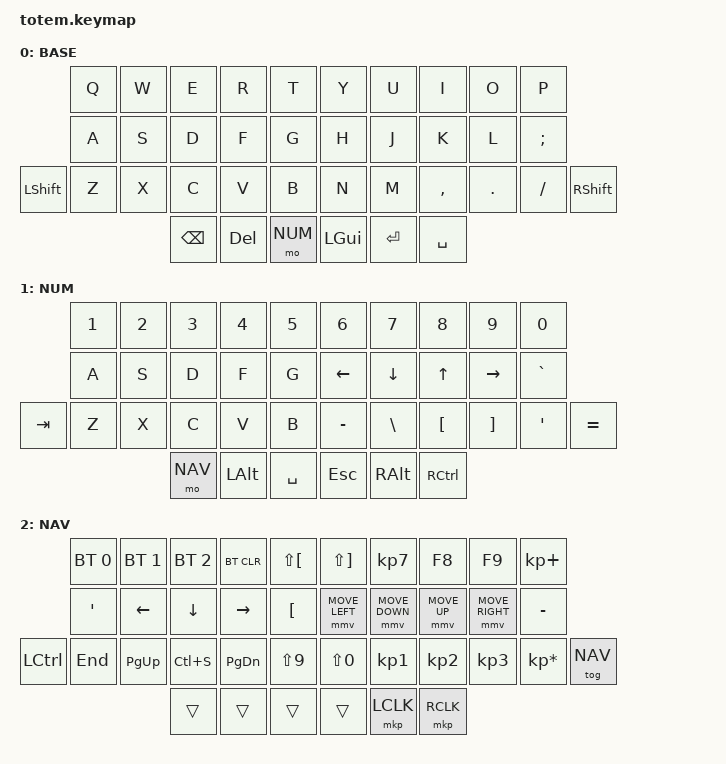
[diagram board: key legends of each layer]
//
//                                                        ▀▀▀▀▀     ▀▀▀▀▀          ▀▀█▀▀
//                                                        ▄▀▀▀▄  ▄  ▄▀▀▀▄  ▄  ▄▀▀▀▄  █  ▄▀▀▀▄
//                                                        █   █  █  █   █  █  █   █  █  █   █
//                                                         ▀▀▀   █   ▀▀▀   █   ▀▀▀   ▀   ▀▀▀
//                                                               █      ▄▄▄█▄▄▄    █   █
//                                                               ▀      █  █  █     █▄█
//                                                             ▀▀▀▀▀    █  █  █      ▀
//                                                                      ▀  ▀  ▀

#include <behaviors.dtsi>
#include <dt-bindings/zmk/keys.h>
#include <dt-bindings/zmk/bt.h>
#include <dt-bindings/zmk/outputs.h>
#include <dt-bindings/zmk/mouse.h>

#define BASE 0
#define NUM  1
#define NAV  2

#define ZMK_POINTING_DEFAULT_MOVE_VAL 1200

/ {
    keymap {
        compatible = "zmk,keymap";

        base_layer {
            label = "BASE";
            bindings = <
//             Q         W         E         R         T             Y         U         I         O         P
               &kp Q     &kp W     &kp E     &kp R     &kp T           &kp Y     &kp U     &kp I     &kp O     &kp P
//             A         S         D         F         G             H         J         K         L         SEMI
               &kp A     &kp S     &kp D     &kp F     &kp G           &kp H     &kp J     &kp K     &kp L     &kp SEMI
//             Z         X         C         V         B             N         M         COMMA     DOT       SLASH
    &kp LSHFT  &kp Z     &kp X     &kp C     &kp V     &kp B           &kp N     &kp M     &kp COMMA &kp DOT   &kp FSLH  &kp RSHFT
//                                 BSPC      DEL       MO(1)         LGUI      ENTER     SPACE
                                   &kp BSPC  &kp DEL   &mo NUM         &kp LGUI  &kp RET   &kp SPACE
            >;
        };

        num_layer {
            label = "NUM";
            bindings = <
//             1         2         3         4         5             6         7         8         9         0
               &kp N1    &kp N2    &kp N3    &kp N4    &kp N5          &kp N6    &kp N7    &kp N8    &kp N9    &kp N0
//             A         S         D         F         G             LEFT      DOWN      UP        RIGHT     GRAVE
               &kp A     &kp S     &kp D     &kp F     &kp G           &kp LEFT  &kp DOWN  &kp UP    &kp RIGHT &kp GRAVE
//             Z         X         C         V         B             MINUS     BSLH      LBKT      RBKT      SQT
    &kp TAB    &kp Z     &kp X     &kp C     &kp V     &kp B           &kp MINUS &kp BSLH  &kp LBKT  &kp RBKT  &kp SQT   &kp EQUAL
//                                 MO(2)     LALT      SPACE         ESC       RALT      RCTRL
                                   &mo NAV   &kp LALT  &kp SPACE       &kp ESC   &kp RALT  &kp RCTRL
            >;
        };

        nav_layer {
            label = "NAV";
            bindings = <
//             BT_0      BT_1      BT_2      BT_CLR    LBRC          RBRC      KP_7      F8        F9        KP_PLUS
               &bt BT_SEL 0 &bt BT_SEL 1 &bt BT_SEL 2 &bt BT_CLR &kp LS(LBKT)  &kp LS(RBKT) &kp KP_N7 &kp F8  &kp F9    &kp KP_PLUS
//             SQT       LEFT      DOWN      RIGHT     LBKT          RBKT   MS_LEFT   MS_DOWN    MS_UP    MS_RIGHT
               &kp SQT   &kp LEFT  &kp DOWN  &kp RIGHT &kp LBKT        &mmv MOVE_LEFT &mmv MOVE_DOWN &mmv MOVE_UP &mmv MOVE_RIGHT &kp MINUS
//             END       PG_UP     CTRL-S    PG_DN     LPAR          RPAR      KP_1      KP_2      KP_3      ASTRK
    &kp LCTRL  &kp END   &kp PG_UP &kp LC(S) &kp PG_DN &kp LS(N9)      &kp LS(N0) &kp KP_N1 &kp KP_N2 &kp KP_N3 &kp KP_MULTIPLY &tog NAV
//                                 trans     trans     trans         trans    RCLK      LCLK
                                   &trans    &trans    &trans          &trans   &mkp LCLK &mkp RCLK
            >;
        };
    };
};

&mmv {
    time-to-max-speed-ms = <20>;
    acceleration-exponent = <3>;
    trigger-period-ms = <8>;
};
